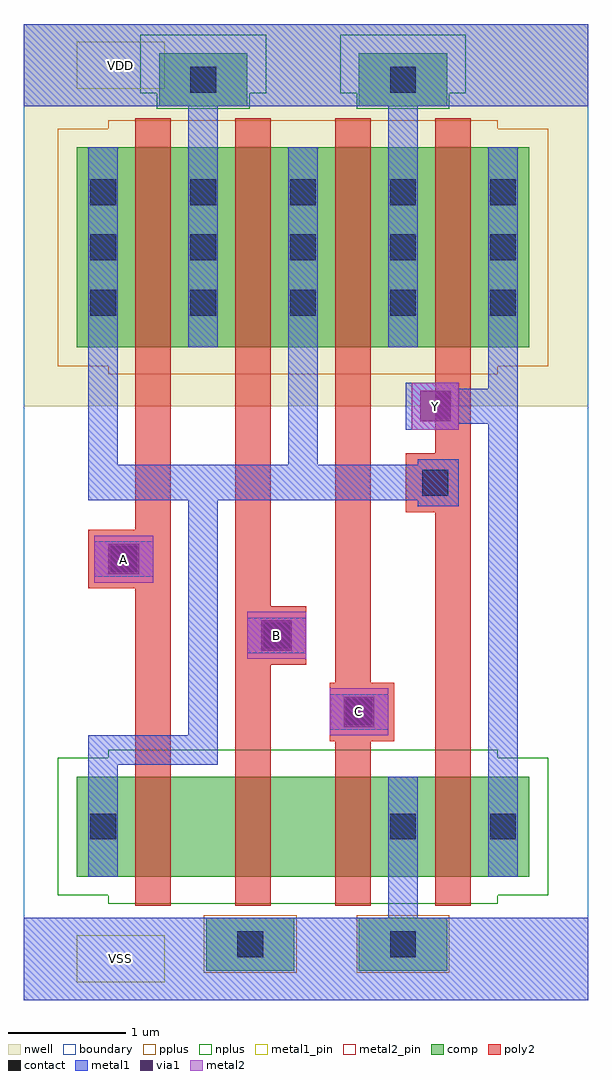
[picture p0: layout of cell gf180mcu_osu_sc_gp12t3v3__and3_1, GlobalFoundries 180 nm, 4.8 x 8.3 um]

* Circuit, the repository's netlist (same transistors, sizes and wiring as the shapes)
** sch_path: /foss/designs/gits/chipathon25-SILICON_BBI-pbiswal/designs/libs/core_digital/gf180mcu_osu_sc_gp12t3v3/cells/and3/gf180mcu_osu_sc_gp12t3v3__and3_1.sch
**.subckt gf180mcu_osu_sc_gp12t3v3__and3_1 A B Y C VDD VSS
*.ipin A
*.ipin B
*.opin Y
*.ipin C
*.iopin VDD
*.iopin VSS
XM1 net1 A VDD VDD pfet_03v3 L=0.3u W=1.7u nf=1 ad='int((nf+1)/2) * W/nf * 0.18u' as='int((nf+2)/2) * W/nf * 0.18u' pd='2*int((nf+1)/2) * (W/nf + 0.18u)'
+ ps='2*int((nf+2)/2) * (W/nf + 0.18u)' nrd='0.18u / W' nrs='0.18u / W' sa=0 sb=0 sd=0 m=1
XM3 net1 B VDD VDD pfet_03v3 L=0.3u W=1.7u nf=1 ad='int((nf+1)/2) * W/nf * 0.18u' as='int((nf+2)/2) * W/nf * 0.18u' pd='2*int((nf+1)/2) * (W/nf + 0.18u)'
+ ps='2*int((nf+2)/2) * (W/nf + 0.18u)' nrd='0.18u / W' nrs='0.18u / W' sa=0 sb=0 sd=0 m=1
XM5 net1 C VDD VDD pfet_03v3 L=0.3u W=1.7u nf=1 ad='int((nf+1)/2) * W/nf * 0.18u' as='int((nf+2)/2) * W/nf * 0.18u' pd='2*int((nf+1)/2) * (W/nf + 0.18u)'
+ ps='2*int((nf+2)/2) * (W/nf + 0.18u)' nrd='0.18u / W' nrs='0.18u / W' sa=0 sb=0 sd=0 m=1
XM6 Y net1 VDD VDD pfet_03v3 L=0.3u W=1.7u nf=1 ad='int((nf+1)/2) * W/nf * 0.18u' as='int((nf+2)/2) * W/nf * 0.18u' pd='2*int((nf+1)/2) * (W/nf + 0.18u)'
+ ps='2*int((nf+2)/2) * (W/nf + 0.18u)' nrd='0.18u / W' nrs='0.18u / W' sa=0 sb=0 sd=0 m=1
XM7 net1 A net2 VSS nfet_03v3 L=0.3u W=0.85u nf=1 ad='int((nf+1)/2) * W/nf * 0.18u' as='int((nf+2)/2) * W/nf * 0.18u' pd='2*int((nf+1)/2) * (W/nf + 0.18u)'
+ ps='2*int((nf+2)/2) * (W/nf + 0.18u)' nrd='0.18u / W' nrs='0.18u / W' sa=0 sb=0 sd=0 m=1
XM8 net2 B net3 VSS nfet_03v3 L=0.3u W=0.85u nf=1 ad='int((nf+1)/2) * W/nf * 0.18u' as='int((nf+2)/2) * W/nf * 0.18u' pd='2*int((nf+1)/2) * (W/nf + 0.18u)'
+ ps='2*int((nf+2)/2) * (W/nf + 0.18u)' nrd='0.18u / W' nrs='0.18u / W' sa=0 sb=0 sd=0 m=1
XM9 net3 C VSS VSS nfet_03v3 L=0.3u W=0.85u nf=1 ad='int((nf+1)/2) * W/nf * 0.18u' as='int((nf+2)/2) * W/nf * 0.18u' pd='2*int((nf+1)/2) * (W/nf + 0.18u)'
+ ps='2*int((nf+2)/2) * (W/nf + 0.18u)' nrd='0.18u / W' nrs='0.18u / W' sa=0 sb=0 sd=0 m=1
XM10 Y net1 VSS VSS nfet_03v3 L=0.3u W=0.85u nf=1 ad='int((nf+1)/2) * W/nf * 0.18u' as='int((nf+2)/2) * W/nf * 0.18u' pd='2*int((nf+1)/2) * (W/nf + 0.18u)'
+ ps='2*int((nf+2)/2) * (W/nf + 0.18u)' nrd='0.18u / W' nrs='0.18u / W' sa=0 sb=0 sd=0 m=1
**.ends
.end

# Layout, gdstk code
import gdstk
lib = gdstk.Library(unit=1e-6, precision=1e-09)
def R(c, l, rs):  # rectangles x0, y0, x1, y1
    for r in rs: c.add(gdstk.rectangle(r[:2], r[2:], *l))
def A(c, l, x, y, w, h, nx, ny, dx, dy):  # array of equal rectangles
    R(c, l, [(x+i*dx, y+j*dy, x+i*dx+w, y+j*dy+h) for i in range(nx) for j in range(ny)])
boundary = (0, 0)
nwell = (21, 0)
comp = (22, 0)
poly2 = (30, 0)
pplus = (31, 0)
nplus = (32, 0)
contact = (33, 0)
metal1 = (34, 0)
metal1_pin = (34, 10)
via1 = (35, 0)
metal2 = (36, 0)
metal2_pin = (36, 10)

gf180mcu_osu_sc_gp12t3v3 = lib.new_cell('gf180mcu_osu_sc_gp12t3v3__and3_1')
R(gf180mcu_osu_sc_gp12t3v3, boundary, [(0,0,4.8,8.3)])
R(gf180mcu_osu_sc_gp12t3v3, nwell, [(0,5.05,4.8,8.3)])
R(gf180mcu_osu_sc_gp12t3v3, comp, [(1.55,0.25,2.3,0.7), (2.85,0.25,3.6,0.7), (0.45,1.05,4.3,1.9), (0.45,5.55,4.3,7.25), (1.15,7.6,1.9,8.05), (2.85,7.6,3.6,8.05)])
R(gf180mcu_osu_sc_gp12t3v3, poly2, [(0.95,0.8,1.25,3.5), (1.8,0.8,2.1,2.85), (2.65,0.8,2.95,2.2), (3.5,0.8,3.8,4.15), (2.6,2.2,3.15,2.7), (2.65,2.7,2.95,7.5), (1.8,2.85,2.4,3.35), (1.8,3.35,2.1,7.5), (0.55,3.5,1.25,4), (0.95,4,1.25,7.5), (3.25,4.15,3.8,4.65), (3.5,4.65,3.8,7.5)])
R(gf180mcu_osu_sc_gp12t3v3, pplus, [(1.53,0.23,2.32,0.72), (2.83,0.23,3.62,0.72), (0.72,5.32,4.03,5.39), (0.29,5.39,4.46,7.41), (0.72,7.41,4.03,7.48)])
R(gf180mcu_osu_sc_gp12t3v3, nplus, [(0.72,0.82,4.03,0.89), (0.29,0.89,4.46,2.06), (0.72,2.06,4.03,2.13), (1.13,7.58,1.92,7.71), (2.83,7.58,3.62,7.71), (0.99,7.71,2.06,8.21), (2.69,7.71,3.76,8.21)])
A(gf180mcu_osu_sc_gp12t3v3, contact, 0.565, 5.82, 0.22, 0.22, 5, 3, 0.85, 0.47)
R(gf180mcu_osu_sc_gp12t3v3, contact, [(1.815,0.365,2.035,0.585), (3.115,0.365,3.335,0.585), (0.565,1.365,0.785,1.585), (3.115,1.365,3.335,1.585), (3.965,1.365,4.185,1.585), (2.74,2.34,2.96,2.56), (2.04,2.99,2.26,3.21), (0.74,3.64,0.96,3.86), (3.39,4.29,3.61,4.51), (1.415,7.715,1.635,7.935), (3.115,7.715,3.335,7.935)])
R(gf180mcu_osu_sc_gp12t3v3, metal1, [(0,0,4.8,0.7), (3.1,0.7,3.35,1.9), (0.55,1.05,0.8,2), (3.95,1.05,4.2,4.9), (0.55,2,1.65,2.25), (1.4,2.25,1.65,4.25), (2.6,2.3,3.1,2.6), (1.9,2.95,2.4,3.25), (0.6,3.6,1.1,3.9), (3.35,4.2,3.7,4.25), (0.55,4.25,3.7,4.55), (0.55,4.55,0.8,7.25), (2.25,4.55,2.5,7.25), (3.35,4.55,3.7,4.6), (3.25,4.85,3.7,4.9), (3.25,4.9,4.2,5.2), (3.25,5.2,3.7,5.25), (3.95,5.2,4.2,7.25), (1.4,5.55,1.65,7.6), (3.1,5.55,3.35,7.6), (0,7.6,4.8,8.3)])
R(gf180mcu_osu_sc_gp12t3v3, metal1_pin, [(0.45,0.15,1.2,0.55), (0.45,7.75,1.2,8.15)])
R(gf180mcu_osu_sc_gp12t3v3, via1, [(2.72,2.32,2.98,2.58), (2.02,2.97,2.28,3.23), (0.72,3.62,0.98,3.88), (3.37,4.92,3.63,5.18)])
R(gf180mcu_osu_sc_gp12t3v3, metal2, [(2.6,2.25,3.1,2.65), (1.9,2.9,2.4,3.3), (0.6,3.55,1.1,3.95), (3.3,4.85,3.7,5.25)])
R(gf180mcu_osu_sc_gp12t3v3, metal2_pin, [(2.6,2.25,3.1,2.65), (1.9,2.9,2.4,3.3), (0.6,3.55,1.1,3.95), (3.3,4.85,3.7,5.25)])
gf180mcu_osu_sc_gp12t3v3.add(gdstk.Label('A', (0.85,3.75), layer=36, texttype=10))
gf180mcu_osu_sc_gp12t3v3.add(gdstk.Label('B', (2.15,3.1), layer=36, texttype=10))
gf180mcu_osu_sc_gp12t3v3.add(gdstk.Label('Y', (3.5,5.05), layer=36, texttype=10))
gf180mcu_osu_sc_gp12t3v3.add(gdstk.Label('C', (2.85,2.45), layer=36, texttype=10))
gf180mcu_osu_sc_gp12t3v3.add(gdstk.Label('VDD', (0.825,7.95), layer=34, texttype=10))
gf180mcu_osu_sc_gp12t3v3.add(gdstk.Label('VSS', (0.825,0.35), layer=34, texttype=10))

lib.write_gds('gf180mcu_osu_sc_gp12t3v3__and3_1.gds')
